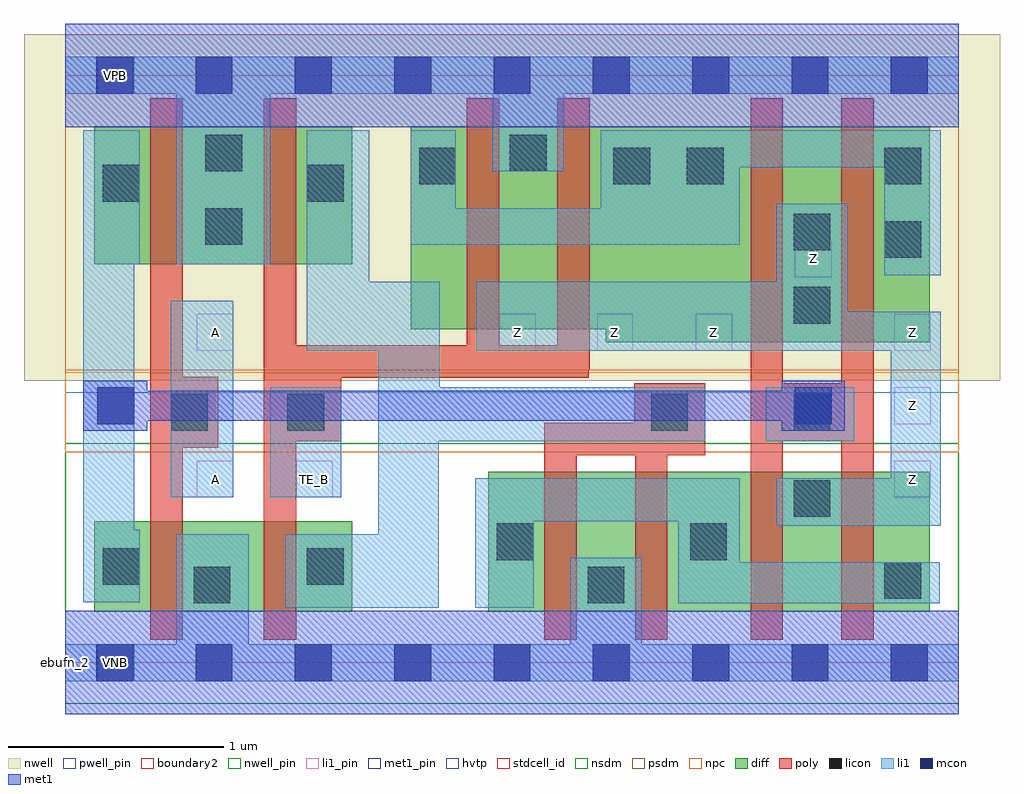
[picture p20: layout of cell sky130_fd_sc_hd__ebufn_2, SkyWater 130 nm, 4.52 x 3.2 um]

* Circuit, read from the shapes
.subckt sky130_fd_sc_hd__ebufn_2 A TE_B VGND VNB VPB VPWR Z
XM1 VGND A n1 VNB sky130_fd_pr__nfet_01v8 w=0.42 l=0.15
XM2 n2 TE_B VGND VNB sky130_fd_pr__nfet_01v8 w=0.42 l=0.15
XM3 VGND n2 n3 VNB sky130_fd_pr__nfet_01v8 w=0.65 l=0.15 m=2
XM4 Z n1 n3 VNB sky130_fd_pr__nfet_01v8 w=0.65 l=0.15 m=2
XM5 VPWR A n1 VPB sky130_fd_pr__pfet_01v8_hvt w=0.64 l=0.15
XM6 n2 TE_B VPWR VPB sky130_fd_pr__pfet_01v8_hvt w=0.64 l=0.15
XM7 VPWR TE_B n4 VPB sky130_fd_pr__pfet_01v8_hvt w=0.94 l=0.15 m=2
XM8 Z n1 n4 VPB sky130_fd_pr__pfet_01v8_hvt w=1 l=0.15 m=2
.ends

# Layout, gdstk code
import gdstk
lib = gdstk.Library(unit=1e-6, precision=1e-09)
def R(c, l, rs):  # rectangles x0, y0, x1, y1
    for r in rs: c.add(gdstk.rectangle(r[:2], r[2:], *l))
def A(c, l, x, y, w, h, nx, ny, dx, dy):  # array of equal rectangles
    R(c, l, [(x+i*dx, y+j*dy, x+i*dx+w, y+j*dy+h) for i in range(nx) for j in range(ny)])
def P(c, l, *ps):  # polygons
    for p in ps: c.add(gdstk.Polygon(p, *l))
nwell_pin = (64, 16)
nwell = (64, 20)
diff = (65, 20)
poly = (66, 20)
licon = (66, 44)
li1_pin = (67, 16)
li1 = (67, 20)
mcon = (67, 44)
met1_pin = (68, 16)
met1 = (68, 20)
hvtp = (78, 44)
stdcell_id = (81, 4)
nsdm = (93, 44)
psdm = (94, 20)
npc = (95, 20)
pwell_pin = (122, 16)
boundary2 = (236, 0)

sky130_fd_sc_hd__ebufn_2 = lib.new_cell('sky130_fd_sc_hd__ebufn_2')
R(sky130_fd_sc_hd__ebufn_2, nwell_pin, [(0.15,2.635,0.32,2.805)])
R(sky130_fd_sc_hd__ebufn_2, nwell, [(-0.19,1.305,4.33,2.91)])
R(sky130_fd_sc_hd__ebufn_2, diff, [(0.135,0.235,1.33,0.655), (1.96,0.235,4.005,0.885), (0.135,1.845,1.33,2.485)])
P(sky130_fd_sc_hd__ebufn_2, diff, [(2.505,1.485),(2.505,1.545),(1.6,1.545),(1.6,2.485),(4.005,2.485),(4.005,1.485)])
P(sky130_fd_sc_hd__ebufn_2, poly, [(3.175,0.105),(3.175,2.615),(3.325,2.615),(3.325,1.295),(3.595,1.295),(3.595,2.615),(3.745,2.615),(3.745,0.105),(3.595,0.105),(3.595,1.025),(3.325,1.025),(3.325,0.105)],
  [(2.22,0.105),(2.22,1.11),(2.635,1.11),(2.635,1.295),(2.965,1.295),(2.965,0.96),(2.79,0.96),(2.79,0.105),(2.64,0.105),(2.64,0.96),(2.37,0.96),(2.37,0.105)],
  [(0.92,0.105),(0.92,2.615),(1.07,2.615),(1.07,1.47),(1.86,1.47),(1.86,2.615),(2.01,2.615),(2.01,1.47),(2.28,1.47),(2.28,2.615),(2.43,2.615),(2.43,1.36),(2.425,1.36),(2.425,1.32),(1.28,1.32),(1.28,1.025),(1.07,1.025),(1.07,0.105)],
  [(0.395,0.105),(0.395,2.615),(0.545,2.615),(0.545,1.325),(0.71,1.325),(0.71,0.995),(0.545,0.995),(0.545,0.105)])
R(sky130_fd_sc_hd__ebufn_2, licon, [(0.595,0.275,0.765,0.445), (2.42,0.275,2.59,0.445), (3.795,0.295,3.965,0.465), (0.175,0.36,0.345,0.53), (1.12,0.36,1.29,0.53), (2,0.475,2.17,0.645), (2.895,0.475,3.065,0.645), (3.375,0.675,3.545,0.845), (0.49,1.075,0.66,1.245), (1.03,1.075,1.2,1.245), (2.715,1.075,2.885,1.245), (3.375,1.075,3.545,1.245), (3.375,1.57,3.545,1.74), (3.795,1.875,3.965,2.045), (3.375,1.91,3.545,2.08), (0.65,1.935,0.82,2.105), (0.175,2.135,0.345,2.305), (1.12,2.135,1.29,2.305), (1.64,2.215,1.81,2.385), (2.54,2.215,2.71,2.385), (2.88,2.215,3.05,2.385), (3.795,2.215,3.965,2.385), (0.65,2.275,0.82,2.445), (2.06,2.275,2.23,2.445)])
A(sky130_fd_sc_hd__ebufn_2, li1_pin, 3.84, 0.765, 0.17, 0.17, 1, 3, 0, 0.34)
R(sky130_fd_sc_hd__ebufn_2, li1_pin, [(0.61,0.765,0.78,0.935), (1.07,0.765,1.24,0.935), (0.61,1.445,0.78,1.615), (2.01,1.445,2.18,1.615), (2.465,1.445,2.63,1.615), (2.92,1.445,3.09,1.615), (3.38,1.785,3.55,1.955)])
R(sky130_fd_sc_hd__ebufn_2, li1, [(0.49,0.765,0.78,1.675), (0.95,0.765,1.28,1.275), (3.245,1.025,3.655,1.275)])
P(sky130_fd_sc_hd__ebufn_2, li1, [(0,-0.085),(0,0.085),(0.515,0.085),(0.515,0.595),(0.85,0.595),(0.85,0.085),(2.34,0.085),(2.34,0.485),(2.67,0.485),(2.67,0.085),(4.14,0.085),(4.14,-0.085)],
  [(0.085,0.28),(0.085,2.465),(0.345,2.465),(0.345,1.845),(0.32,1.845),(0.32,0.615),(0.345,0.615),(0.345,0.28)],
  [(0.515,1.845),(0.515,2.635),(0,2.635),(0,2.805),(4.14,2.805),(4.14,2.635),(2.31,2.635),(2.31,2.275),(1.98,2.275),(1.98,2.635),(0.95,2.635),(0.95,1.845)],
  [(3.295,0.635),(3.295,0.855),(3.825,0.855),(3.825,1.445),(1.905,1.445),(1.905,1.765),(3.295,1.765),(3.295,2.125),(3.625,2.125),(3.625,1.625),(4.055,1.625),(4.055,0.635)],
  [(3.795,1.795),(3.795,2.295),(3.125,2.295),(3.125,1.935),(1.6,1.935),(1.6,2.465),(1.81,2.465),(1.81,2.105),(2.48,2.105),(2.48,2.465),(4.055,2.465),(4.055,1.795)],
  [(1.9,0.255),(1.9,0.855),(3.125,0.855),(3.125,0.465),(4.05,0.465),(4.05,0.275),(2.84,0.275),(2.84,0.655),(2.17,0.655),(2.17,0.255)],
  [(1.02,0.255),(1.02,0.595),(1.45,0.595),(1.45,1.445),(1.12,1.445),(1.12,2.465),(1.41,2.465),(1.41,1.765),(1.735,1.765),(1.735,1.275),(2.965,1.275),(2.965,1.025),(1.73,1.025),(1.73,0.255)])
A(sky130_fd_sc_hd__ebufn_2, mcon, 0.145, -0.085, 0.17, 0.17, 9, 2, 0.46, 2.72)
R(sky130_fd_sc_hd__ebufn_2, mcon, [(0.15,1.105,0.32,1.275), (3.38,1.105,3.55,1.275)])
R(sky130_fd_sc_hd__ebufn_2, met1_pin, [(0.15,-0.085,0.32,0.085), (0.15,2.635,0.32,2.805)])
P(sky130_fd_sc_hd__ebufn_2, met1, [(0.085,1.075),(0.085,1.305),(0.38,1.305),(0.38,1.26),(3.32,1.26),(3.32,1.305),(3.61,1.305),(3.61,1.075),(3.32,1.075),(3.32,1.12),(0.38,1.12),(0.38,1.075)])
R(sky130_fd_sc_hd__ebufn_2, hvtp, [(0,1.25,4.14,2.72)])
R(sky130_fd_sc_hd__ebufn_2, stdcell_id, [(0,0,4.14,2.72)])
R(sky130_fd_sc_hd__ebufn_2, nsdm, [(0,-0.19,4.14,1.015)])
R(sky130_fd_sc_hd__ebufn_2, psdm, [(0,1.355,4.14,2.91)])
R(sky130_fd_sc_hd__ebufn_2, npc, [(0,0.975,4.14,1.345)])
R(sky130_fd_sc_hd__ebufn_2, pwell_pin, [(0.15,-0.085,0.32,0.085)])
R(sky130_fd_sc_hd__ebufn_2, boundary2, [(0,0,4.14,2.72)])
sky130_fd_sc_hd__ebufn_2.add(gdstk.FlexPath([(0,2.72),(4.14,2.72)], 0.48, ends="flush", simple_path=True, layer=68, datatype=20))  # met1
sky130_fd_sc_hd__ebufn_2.add(gdstk.FlexPath([(0,0),(4.14,0)], 0.48, ends="flush", simple_path=True, layer=68, datatype=20))  # met1
sky130_fd_sc_hd__ebufn_2.add(gdstk.Label('Z', (3.925,1.19), layer=67, texttype=5))
sky130_fd_sc_hd__ebufn_2.add(gdstk.Label('Z', (3.925,1.53), layer=67, texttype=5))
sky130_fd_sc_hd__ebufn_2.add(gdstk.Label('A', (0.695,0.85), layer=67, texttype=5))
sky130_fd_sc_hd__ebufn_2.add(gdstk.Label('Z', (3.465,1.87), layer=67, texttype=5))
sky130_fd_sc_hd__ebufn_2.add(gdstk.Label('A', (0.695,1.53), layer=67, texttype=5))
sky130_fd_sc_hd__ebufn_2.add(gdstk.Label('TE_B', (1.155,0.85), layer=67, texttype=5))
sky130_fd_sc_hd__ebufn_2.add(gdstk.Label('Z', (3.005,1.53), layer=67, texttype=5))
sky130_fd_sc_hd__ebufn_2.add(gdstk.Label('Z', (2.545,1.53), layer=67, texttype=5))
sky130_fd_sc_hd__ebufn_2.add(gdstk.Label('Z', (2.095,1.53), layer=67, texttype=5))
sky130_fd_sc_hd__ebufn_2.add(gdstk.Label('Z', (3.925,0.85), layer=67, texttype=5))
sky130_fd_sc_hd__ebufn_2.add(gdstk.Label('VNB', (0.235,0), layer=64, texttype=59))
sky130_fd_sc_hd__ebufn_2.add(gdstk.Label('VPB', (0.235,2.72), layer=64, texttype=5))
sky130_fd_sc_hd__ebufn_2.add(gdstk.Label('VGND', (0.23,0), layer=68, texttype=5))
sky130_fd_sc_hd__ebufn_2.add(gdstk.Label('VPWR', (0.23,2.72), layer=68, texttype=5))
sky130_fd_sc_hd__ebufn_2.add(gdstk.Label('ebufn_2', (0,0), layer=83, texttype=44))

lib.write_gds('sky130_fd_sc_hd__ebufn_2.gds')
